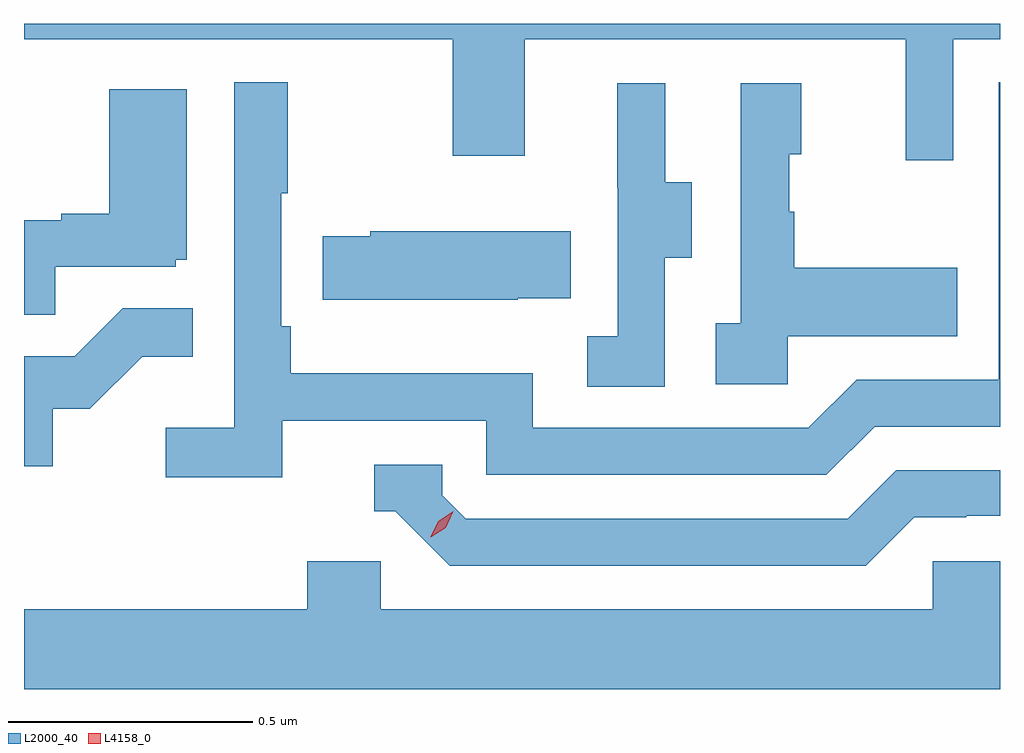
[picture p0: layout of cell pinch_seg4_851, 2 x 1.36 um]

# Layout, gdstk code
import gdstk
lib = gdstk.Library(unit=1e-6, precision=1e-09)
def P(c, l, *ps):  # polygons
    for p in ps: c.add(gdstk.Polygon(p, *l))
L2000_40 = (2000, 40)
L4158_0 = (4158, 0)

pinch_seg4_851 = lib.new_cell('pinch_seg4_851')
P(pinch_seg4_851, L2000_40, [(869.925,811.472),(870.021,811.472),(870.021,811.503),(868.021,811.503),(868.021,811.472),(868.9,811.472),(868.9,811.233),(869.047,811.233),(869.047,811.472),(869.828,811.472),(869.828,811.224),(869.925,811.224)],
  [(868.55,810.69),(868.968,810.69),(868.968,810.579),(869.665,810.579),(869.764,810.678),(870.021,810.678),(870.021,811.383),(870.018,811.383),(870.018,810.774),(869.727,810.774),(869.628,810.675),(869.064,810.675),(869.064,810.787),(868.568,810.787),(868.568,810.883),(868.548,810.883),(868.548,811.156),(868.561,811.156),(868.561,811.384),(868.452,811.384),(868.452,810.676),(868.311,810.676),(868.311,810.574),(868.55,810.574)],
  [(869.334,811.024),(869.389,811.024),(869.389,811.179),(869.335,811.179),(869.335,811.381),(869.237,811.381),(869.237,811.167),(869.238,811.167),(869.238,810.863),(869.175,810.863),(869.175,810.76),(869.334,810.76)],
  [(869.586,810.863),(869.933,810.863),(869.933,811.003),(869.599,811.003),(869.599,811.118),(869.589,811.118),(869.589,811.236),(869.614,811.236),(869.614,811.381),(869.49,811.381),(869.49,810.89),(869.439,810.89),(869.439,810.765),(869.586,810.765)],
  [(868.085,811.005),(868.332,811.005),(868.332,811.02),(868.354,811.02),(868.354,811.369),(868.196,811.369),(868.196,811.114),(868.097,811.114),(868.097,811.101),(868.021,811.101),(868.021,810.907),(868.085,810.907)],
  [(869.033,810.941),(869.141,810.941),(869.141,811.078),(868.731,811.078),(868.731,811.068),(868.633,811.068),(868.633,810.938),(869.033,810.938)],
  [(868.08,810.714),(868.156,810.714),(868.263,810.821),(868.367,810.821),(868.367,810.92),(868.223,810.92),(868.125,810.822),(868.021,810.822),(868.021,810.597),(868.08,810.597)],
  [(869.845,810.492),(869.952,810.492),(869.952,810.495),(870.021,810.495),(870.021,810.588),(869.808,810.588),(869.709,810.489),(868.926,810.489),(868.878,810.537),(868.878,810.6),(868.739,810.6),(868.739,810.504),(868.782,810.504),(868.893,810.393),(869.746,810.393)],
  [(870.021,810.402),(869.883,810.402),(869.883,810.304),(868.752,810.304),(868.752,810.402),(868.601,810.402),(868.601,810.304),(868.021,810.304),(868.021,810.14),(870.021,810.14)])
P(pinch_seg4_851, L4158_0, [(868.854,810.451),(868.854,810.452),(868.87,810.484),(868.901,810.504),(868.901,810.504),(868.901,810.504),(868.885,810.471),(868.855,810.451)])

lib.write_gds('pinch_seg4_851.gds')
